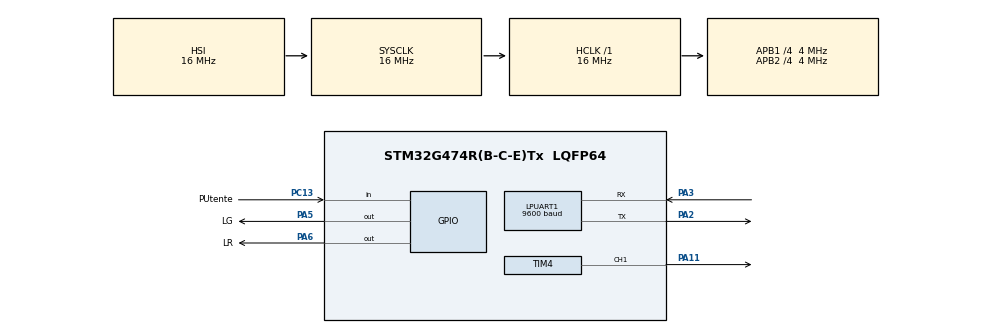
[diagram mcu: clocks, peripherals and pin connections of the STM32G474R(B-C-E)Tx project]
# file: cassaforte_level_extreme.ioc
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LPUART1.BaudRate=9600
Mcu.Family=STM32G4
Mcu.Name=STM32G474R(B-C-E)Tx
Mcu.Package=LQFP64
NVIC.LPUART1_IRQn=true\:0\:0\:false\:false\:true\:true\:true\:true
NVIC.PriorityGroup=NVIC_PRIORITYGROUP_4
NVIC.TIM6_DAC_IRQn=true\:0\:0\:false\:false\:true\:true\:true\:true
PA11.Signal=S_TIM4_CH1
PA2.Mode=Asynchronous
PA2.Signal=LPUART1_TX
PA3.Mode=Asynchronous
PA3.Signal=LPUART1_RX
PA5.GPIO_Label=LG
PA5.Signal=GPIO_Output
PA6.GPIO_Label=LR
PA6.Signal=GPIO_Output
PC13.GPIO_Label=PUtente
PC13.Signal=GPIO_Input
ProjectManager.HeapSize=0x200
ProjectManager.StackSize=0x400
ProjectManager.TargetToolchain=STM32CubeIDE
RCC.AHBFreq_Value=16000000
RCC.APB1CLKDivider=RCC_HCLK_DIV4
RCC.APB1Freq_Value=4000000
RCC.APB1TimFreq_Value=8000000
RCC.APB2CLKDivider=RCC_HCLK_DIV4
RCC.APB2Freq_Value=4000000
RCC.APB2TimFreq_Value=8000000
RCC.CortexFreq_Value=16000000
RCC.EXTERNAL_CLOCK_VALUE=12288000
RCC.HCLKFreq_Value=16000000
RCC.HSE_VALUE=8000000
RCC.HSI48_VALUE=48000000
RCC.HSI_VALUE=16000000
RCC.LSE_VALUE=32768
RCC.SYSCLKFreq_VALUE=16000000
RCC.USBFreq_Value=64000000
RCC.VCOOutputFreq_Value=128000000
SH.S_TIM4_CH1.0=TIM4_CH1,PWM Generation1 CH1
TIM4.Channel-PWM\ Generation1\ CH1=TIM_CHANNEL_1
TIM4.Prescaler=80-1
TIM6.Prescaler=8000-1
VP_SYS_VS_DBSignals.Mode=DisableDeadBatterySignals
VP_TIM6_VS_ClockSourceINT.Mode=Enable_Timer
board=custom

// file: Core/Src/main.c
/* USER CODE BEGIN Header */
/**
  ******************************************************************************
  * @file           : main.c
  * @brief          : Main program body
  ******************************************************************************
  * @attention
  *
  * Copyright (c) 2026 STMicroelectronics.
  * All rights reserved.
  *
  * This software is licensed under terms that can be found in the LICENSE file
  * in the root directory of this software component.
  * If no LICENSE file comes with this software, it is provided AS-IS.
  *
  ******************************************************************************
  */
/* USER CODE END Header */
#include "main.h"
#include "usart.h"
#include "tim.h"
#include "gpio.h"

/* USER CODE BEGIN Includes */
#include "fsm_logic.h"
/* USER CODE END Includes */

/* USER CODE BEGIN PD */
#define QUEUE_SIZE 10
#define ITEM_SIZE 50
/* USER CODE END PD */

void SystemClock_Config(void);

int main(void)
{

  /* MCU Configuration--------------------------------------------------------*/

  /* Reset of all peripherals, Initializes the Flash interface and the Systick. */
  HAL_Init();

  /* Configure the system clock */
  SystemClock_Config();

  /* Initialize all configured peripherals */
  MX_GPIO_Init();
  MX_LPUART1_UART_Init();
  MX_TIM4_Init();
  MX_TIM6_Init();
  /* USER CODE BEGIN 2 */
  button_t pUtente;
  timer_t timer , pwm;
  led_t lg , lr;
  queue_t queue;
  char buf[QUEUE_SIZE][ITEM_SIZE];
  if(led_init(&lg , LG_GPIO_Port , LG_Pin , RELEASED) != LED_OK) return -1;
  if(led_init(&lr , LR_GPIO_Port , LR_Pin , RELEASED) != LED_OK) return -1;
  if(timer_init(&timer,&htim6 , 8000000) != TIMER_OK) return -1;
  if(timer_init(&pwm,&htim4 , 8000000) != TIMER_OK) return -1;
  if(button_init(&pUtente , PUtente_GPIO_Port , PUtente_Pin ,RELEASED) != BUTTON_OK) return -1;
  if(queue_init(&queue , (uint8_t *) buf , ITEM_SIZE , QUEUE_SIZE) != QUEUE_OK) return FSM_ERR;
  if(FSM_init(&pUtente , &timer, &pwm , &lg , &lr , &queue) != FSM_OK) return -1;

  /* USER CODE END 2 */

  /* Infinite loop */
  /* USER CODE BEGIN WHILE */
  while (1)
  {
	  if(FSM_step() != FSM_OK) return -1;
	  if(consume_task() != FSM_OK) return -1;
    /* USER CODE END WHILE */

  }
}

void SystemClock_Config(void)
{
  RCC_OscInitTypeDef RCC_OscInitStruct = {0};
  RCC_ClkInitTypeDef RCC_ClkInitStruct = {0};

  /** Configure the main internal regulator output voltage
  */
  HAL_PWREx_ControlVoltageScaling(PWR_REGULATOR_VOLTAGE_SCALE1);

  /** Initializes the RCC Oscillators according to the specified parameters
  * in the RCC_OscInitTypeDef structure.
  */
  RCC_OscInitStruct.OscillatorType = RCC_OSCILLATORTYPE_HSI;
  RCC_OscInitStruct.HSIState = RCC_HSI_ON;
  RCC_OscInitStruct.HSICalibrationValue = RCC_HSICALIBRATION_DEFAULT;
  RCC_OscInitStruct.PLL.PLLState = RCC_PLL_NONE;
  if (HAL_RCC_OscConfig(&RCC_OscInitStruct) != HAL_OK)
  {
    Error_Handler();
  }

  /** Initializes the CPU, AHB and APB buses clocks
  */
  RCC_ClkInitStruct.ClockType = RCC_CLOCKTYPE_HCLK|RCC_CLOCKTYPE_SYSCLK
                              |RCC_CLOCKTYPE_PCLK1|RCC_CLOCKTYPE_PCLK2;
  RCC_ClkInitStruct.SYSCLKSource = RCC_SYSCLKSOURCE_HSI;
  RCC_ClkInitStruct.AHBCLKDivider = RCC_SYSCLK_DIV1;
  RCC_ClkInitStruct.APB1CLKDivider = RCC_HCLK_DIV4;
  RCC_ClkInitStruct.APB2CLKDivider = RCC_HCLK_DIV4;

  if (HAL_RCC_ClockConfig(&RCC_ClkInitStruct, FLASH_LATENCY_0) != HAL_OK)
  {
    Error_Handler();
  }
}

void Error_Handler(void)
{
  __disable_irq();
  while (1)
  {
  }
}
